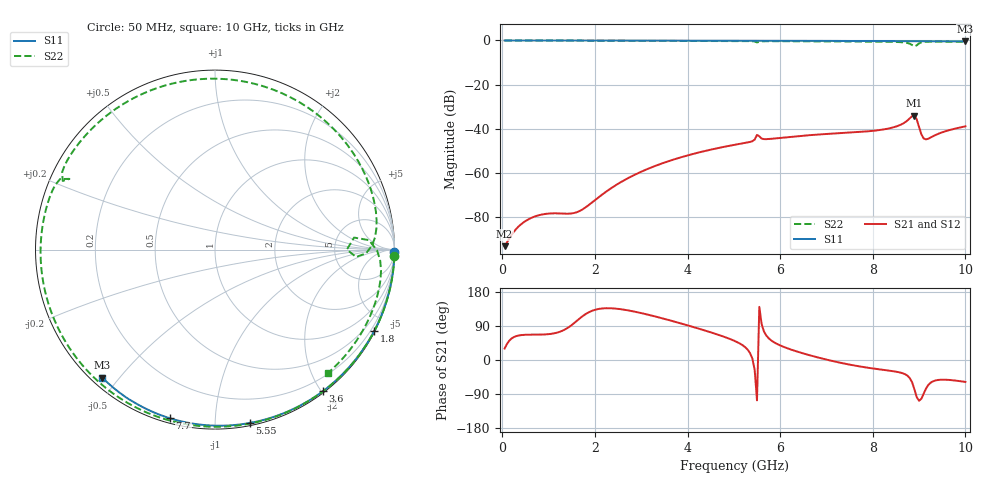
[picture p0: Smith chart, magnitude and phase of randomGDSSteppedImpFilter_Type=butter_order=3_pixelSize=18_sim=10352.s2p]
! freq	dB(S11)	phase(S11)	dB(S12)	phase(S12)
!  dB(S21)	phase(S21)	dB(S22)	phase(S22)
!S-par simulation data
#  GHz  S  DB  R 50
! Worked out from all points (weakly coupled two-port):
!   200 points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, 50 MHz to 10 GHz, reference 50 ohm
!   highest |S21| = -34.04 dB at 8.9 GHz (marker M1); lowest = -93.3 dB at 50 MHz (marker M2)
!   lowest |S11| = -0.4 dB at 10 GHz (marker M3), VSWR 39.28, Z = 1.53 - j22.6 ohm
!   |S11| at or under -10 dB: nowhere
!   |S22| runs from -2.7 to 0.0 dB; largest |S21 - S12| = 0
!   S11 on the Smith chart (normalised r, x): 50 MHz: open; 1.8 GHz: 0.04, -4.18; 3.6 GHz: 0.02, -2.02; 5.55 GHz: 0.02, -1.22; 7.7 GHz: 0.02, -0.77; 10 GHz: 0.03, -0.45
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0.05  -0.00 -0.8  -93.30 30.3  -93.30 30.3  -0.00 -2.0
0.8  -0.01 -12.1  -79.21 67.0  -79.21 67.0  -0.03 -32.2
1.5  -0.03 -22.5  -78.45 92.3  -78.45 92.3  -0.07 -59.4
1.75  -0.03 -26.2  -76.40 117.1  -76.40 117.1  -0.09 -68.8
1.8  -0.03 -26.9  -75.69 121.2  -75.69 121.2  -0.09 -70.7
2.55  -0.05 -37.8  -64.39 134.2  -64.39 134.2  -0.12 -98.2
3.4  -0.07 -49.8  -56.14 111.8  -56.14 111.8  -0.16 -128.4
3.6  -0.07 -52.6  -54.69 105.2  -54.69 105.2  -0.17 -135.4
4.35  -0.09 -62.9  -50.26 78.8  -50.26 78.8  -0.21 -161.9
5.05  -0.11 -72.1  -47.20 48.4  -47.20 48.4  -0.27 172.4
5.55  -0.14 -78.5  -43.46 140.3  -43.46 140.3  -0.62 155.7
6.1  -0.15 -85.5  -43.97 33.4  -43.97 33.4  -0.35 131.3
6.7  -0.18 -93.0  -42.85 10.4  -42.85 10.4  -0.40 104.8
7.2  -0.21 -99.0  -42.17 -4.6  -42.17 -4.6  -0.44 81.3
7.7  -0.24 -104.9  -41.53 -16.6  -41.53 -16.6  -0.49 56.7
8.35  -0.29 -112.5  -39.90 -28.0  -39.90 -28.0  -0.60 23.7
8.7  -0.32 -116.6  -37.07 -37.7  -37.07 -37.7  -0.96 4.5
8.9  -0.33 -118.8  -34.04 -77.7  -34.04 -77.7  -2.68 0.0
8.95  -0.33 -119.4  -35.84 -98.4  -35.84 -98.4  -2.18 4.9
9.05  -0.34 -120.5  -42.59 -102.2  -42.59 -102.2  -0.89 -0.3
9.15  -0.35 -121.7  -44.87 -75.2  -44.87 -75.2  -0.61 -7.3
10  -0.44 -131.3  -38.95 -57.9  -38.95 -57.9  -0.61 -47.5
